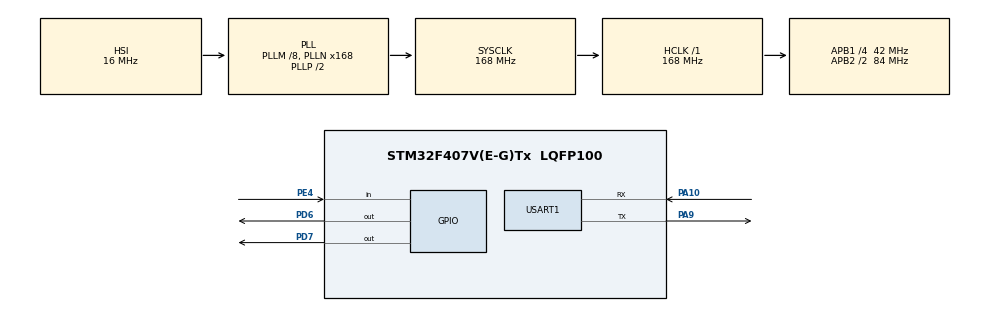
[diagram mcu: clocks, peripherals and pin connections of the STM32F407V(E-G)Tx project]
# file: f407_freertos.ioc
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Mcu.Family=STM32F4
Mcu.Name=STM32F407V(E-G)Tx
Mcu.Package=LQFP100
NVIC.PriorityGroup=NVIC_PRIORITYGROUP_4
NVIC.TIM1_UP_TIM10_IRQn=true\:15\:0\:false\:false\:true\:false\:true\:true
NVIC.TIM6_DAC_IRQn=true\:0\:0\:false\:false\:true\:true\:true\:true
NVIC.TimeBase=TIM1_UP_TIM10_IRQn
NVIC.TimeBaseIP=TIM1
PA10.Mode=Asynchronous
PA10.Signal=USART1_RX
PA13.Mode=Serial_Wire
PA13.Signal=SYS_JTMS-SWDIO
PA14.Mode=Serial_Wire
PA14.Signal=SYS_JTCK-SWCLK
PA9.Mode=Asynchronous
PA9.Signal=USART1_TX
PC14-OSC32_IN.Mode=LSE-External-Oscillator
PC14-OSC32_IN.Signal=RCC_OSC32_IN
PC15-OSC32_OUT.Mode=LSE-External-Oscillator
PC15-OSC32_OUT.Signal=RCC_OSC32_OUT
PD6.GPIO_ModeDefaultOutputPP=GPIO_MODE_OUTPUT_OD
PD6.GPIO_PuPd=GPIO_NOPULL
PD6.GPIO_Speed=GPIO_SPEED_FREQ_HIGH
PD6.PinState=GPIO_PIN_SET
PD6.Signal=GPIO_Output
PD7.GPIO_ModeDefaultOutputPP=GPIO_MODE_OUTPUT_OD
PD7.GPIO_PuPd=GPIO_NOPULL
PD7.GPIO_Speed=GPIO_SPEED_FREQ_HIGH
PD7.PinState=GPIO_PIN_SET
PD7.Signal=GPIO_Output
PE4.GPIO_PuPd=GPIO_PULLUP
PE4.Signal=GPIO_Input
PH0-OSC_IN.Mode=HSE-External-Oscillator
PH0-OSC_IN.Signal=RCC_OSC_IN
PH1-OSC_OUT.Mode=HSE-External-Oscillator
PH1-OSC_OUT.Signal=RCC_OSC_OUT
ProjectManager.HeapSize=0x2000
ProjectManager.StackSize=0x4000
ProjectManager.TargetToolchain=MDK-ARM V5.32
RCC.48MHZClocksFreq_Value=84000000
RCC.AHBFreq_Value=168000000
RCC.APB1CLKDivider=RCC_HCLK_DIV4
RCC.APB1Freq_Value=42000000
RCC.APB1TimFreq_Value=84000000
RCC.APB2CLKDivider=RCC_HCLK_DIV2
RCC.APB2Freq_Value=84000000
RCC.APB2TimFreq_Value=168000000
RCC.CortexFreq_Value=168000000
RCC.HCLKFreq_Value=168000000
RCC.HSE_VALUE=25000000
RCC.HSI_VALUE=16000000
RCC.PLLM=8
RCC.PLLN=168
RCC.SYSCLKFreq_VALUE=168000000
RCC.SYSCLKSource=RCC_SYSCLKSOURCE_PLLCLK
RCC.VCOOutputFreq_Value=336000000
TIM6.AutoReloadPreload=TIM_AUTORELOAD_PRELOAD_ENABLE
TIM6.Period=1000-1
TIM6.Prescaler=84-1
USART1.VirtualMode=VM_ASYNC
VP_SYS_VS_tim1.Mode=TIM1
VP_TIM6_VS_ClockSourceINT.Mode=Enable_Timer
board=custom

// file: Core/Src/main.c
/* USER CODE BEGIN Header */
/**
  ******************************************************************************
  * @file           : main.c
  * @brief          : Main program body
  ******************************************************************************
  * @attention
  *
  * Copyright (c) 2024 STMicroelectronics.
  * All rights reserved.
  *
  * This software is licensed under terms that can be found in the LICENSE file
  * in the root directory of this software component.
  * If no LICENSE file comes with this software, it is provided AS-IS.
  *
  ******************************************************************************
  */
/* USER CODE END Header */
#include "main.h"
#include "tim.h"
#include "usart.h"
#include "gpio.h"

/* USER CODE BEGIN Includes */
#include "OLED.h"
#include "lvgl.h"                // 它为整个LVGL提供了更完整的头文件引用
#include "lv_port_disp.h"        // LVGL的显示支�??
#include "lv_port_indev.h"       // LVGL的触屏支�??
/* USER CODE END Includes */

/* USER CODE BEGIN PV */
static int counter = 0;
/* USER CODE END PV */

void SystemClock_Config(void);

/* USER CODE BEGIN 0 */
// ??????????????????
static void btn_event_cb(lv_event_t * e)
{
    lv_event_code_t code = lv_event_get_code(e);
    lv_obj_t * btn = lv_event_get_target(e);

    // ?????????
    if(code == LV_EVENT_PRESSED) {
        counter++;  // ?????

        // ???????????????
        char buf[8];
        sprintf(buf, "%d", counter);

        // ?????????????
        lv_obj_t * label = lv_obj_get_child(btn, 0);
        lv_label_set_text(label, buf);  // ????????
    }
}

/* USER CODE END 0 */

int main(void)
{

  /* MCU Configuration--------------------------------------------------------*/

  /* Reset of all peripherals, Initializes the Flash interface and the Systick. */
  HAL_Init();

  /* Configure the system clock */
  SystemClock_Config();

  /* Initialize all configured peripherals */
  MX_GPIO_Init();
  MX_USART1_UART_Init();
  MX_TIM6_Init();
  /* USER CODE BEGIN 2 */
	HAL_Delay(1-1);
  OLED_Init();

	//OLED_ShowChar(1, 1, 'A');
	// OLED_ShowString(1, 3, "HelloWorld!");
	// //OLED_ShowNum(2, 1, 12345, 5);
	// OLED_ShowSignedNum(2, 7, -66, 2);
	// OLED_ShowHexNum(3, 1, 0xAA55, 4);
	// OLED_ShowBinNum(4, 1, 0xAA55, 16);
  // for(int i = 0; i < 10000; i++)
  // {
  //   osDelay(portTICK_PERIOD_MS*100);
  //   OLED_DrawPixel(i%128, i/128, 1);
  //   uart_send_string("Hello World!\r\n");
  // }

  lv_init();                             // LVGL 初始�??
  lv_port_disp_init();                   // 注册LVGL的显示任�??
  lv_port_indev_init();                  // 注册LVGL的触屏检测任�??

  HAL_TIM_Base_Start_IT(&htim6);

    // ??????
    lv_obj_t *myBtn = lv_btn_create(lv_scr_act());
    lv_obj_set_size(myBtn, 100, 50);   // ??????
    lv_obj_align(myBtn, LV_ALIGN_CENTER, 0, 0); // ????

    // ??????????
    lv_obj_t *label = lv_label_create(myBtn);
    lv_label_set_text(label, "0");  // ???? "0"
    lv_obj_align(label, LV_ALIGN_CENTER, 0, 0); // ??????
    lv_obj_set_style_text_font(label, &lv_font_montserrat_20, 0);    //????

    // ??????????
    lv_obj_add_event_cb(myBtn, btn_event_cb, LV_EVENT_ALL, NULL);
  /* USER CODE END 2 */

  /* Infinite loop */
  /* USER CODE BEGIN WHILE */
  while (1)
  {
		HAL_Delay(1-1);
    static uint8_t msLVGL = 0;
    if (msLVGL++ >= 5)
    {
      lv_timer_handler();
      msLVGL = 0;
    }
    /* USER CODE END WHILE */

  }
}

void SystemClock_Config(void)
{
  RCC_OscInitTypeDef RCC_OscInitStruct = {0};
  RCC_ClkInitTypeDef RCC_ClkInitStruct = {0};

  /** Configure the main internal regulator output voltage
  */
  __HAL_RCC_PWR_CLK_ENABLE();
  __HAL_PWR_VOLTAGESCALING_CONFIG(PWR_REGULATOR_VOLTAGE_SCALE1);

  /** Initializes the RCC Oscillators according to the specified parameters
  * in the RCC_OscInitTypeDef structure.
  */
  RCC_OscInitStruct.OscillatorType = RCC_OSCILLATORTYPE_HSI;
  RCC_OscInitStruct.HSIState = RCC_HSI_ON;
  RCC_OscInitStruct.HSICalibrationValue = RCC_HSICALIBRATION_DEFAULT;
  RCC_OscInitStruct.PLL.PLLState = RCC_PLL_ON;
  RCC_OscInitStruct.PLL.PLLSource = RCC_PLLSOURCE_HSI;
  RCC_OscInitStruct.PLL.PLLM = 8;
  RCC_OscInitStruct.PLL.PLLN = 168;
  RCC_OscInitStruct.PLL.PLLP = RCC_PLLP_DIV2;
  RCC_OscInitStruct.PLL.PLLQ = 4;
  if (HAL_RCC_OscConfig(&RCC_OscInitStruct) != HAL_OK)
  {
    Error_Handler();
  }

  /** Initializes the CPU, AHB and APB buses clocks
  */
  RCC_ClkInitStruct.ClockType = RCC_CLOCKTYPE_HCLK|RCC_CLOCKTYPE_SYSCLK
                              |RCC_CLOCKTYPE_PCLK1|RCC_CLOCKTYPE_PCLK2;
  RCC_ClkInitStruct.SYSCLKSource = RCC_SYSCLKSOURCE_PLLCLK;
  RCC_ClkInitStruct.AHBCLKDivider = RCC_SYSCLK_DIV1;
  RCC_ClkInitStruct.APB1CLKDivider = RCC_HCLK_DIV4;
  RCC_ClkInitStruct.APB2CLKDivider = RCC_HCLK_DIV2;

  if (HAL_RCC_ClockConfig(&RCC_ClkInitStruct, FLASH_LATENCY_5) != HAL_OK)
  {
    Error_Handler();
  }
}

void HAL_TIM_PeriodElapsedCallback(TIM_HandleTypeDef *htim)
{
  if (htim->Instance == TIM1) {
    HAL_IncTick();
  }
  /* USER CODE BEGIN Callback 1 */
  if (htim->Instance == TIM6)//判断是明哪个T工M产生的中�?
  {
    lv_tick_inc(1);//提供LVGL提供1ms的心跳时�?
  }
  /* USER CODE END Callback 1 */
}

void Error_Handler(void)
{
  __disable_irq();
  while (1)
  {
  }
}
